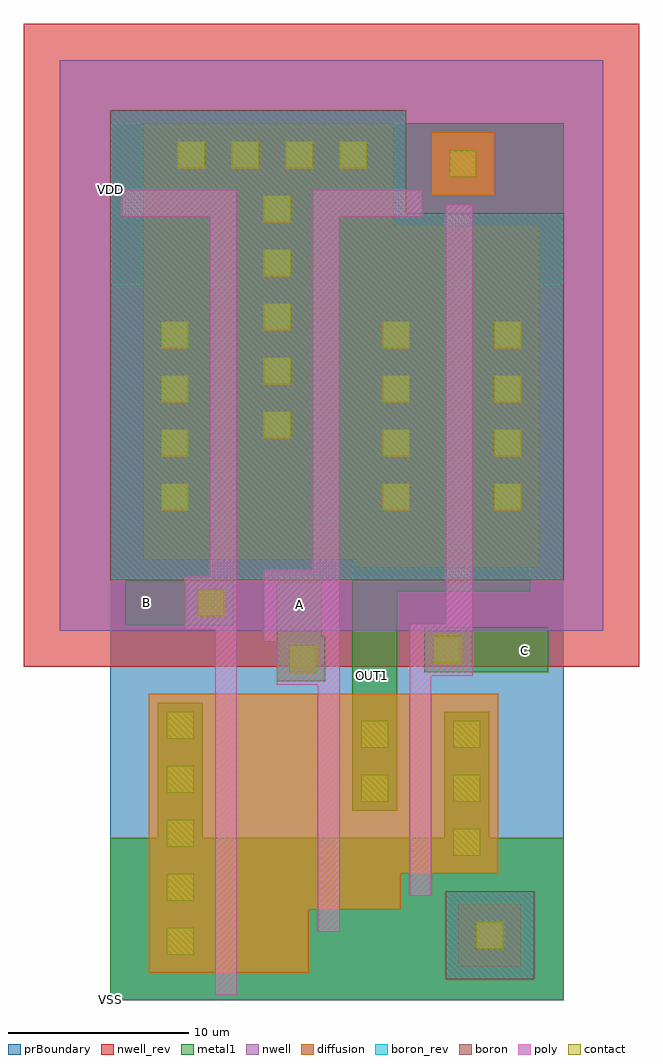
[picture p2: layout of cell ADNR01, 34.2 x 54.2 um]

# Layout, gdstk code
import gdstk
lib = gdstk.Library(unit=1e-6, precision=1e-09)
def R(c, l, rs):  # rectangles x0, y0, x1, y1
    for r in rs: c.add(gdstk.rectangle(r[:2], r[2:], *l))
def A(c, l, x, y, w, h, nx, ny, dx, dy):  # array of equal rectangles
    R(c, l, [(x+i*dx, y+j*dy, x+i*dx+w, y+j*dy+h) for i in range(nx) for j in range(ny)])
def P(c, l, *ps):  # polygons
    for p in ps: c.add(gdstk.Polygon(p, *l))
nwell = (1, 0)
diffusion = (2, 0)
nwell_rev = (3, 0)
poly = (4, 0)
boron = (5, 0)
boron_rev = (6, 0)
contact = (7, 0)
metal1 = (8, 0)
prBoundary = (28, 0)

adnr01 = lib.new_cell('ADNR01')
R(adnr01, nwell, [(-2.8,20.5,27.4,52.2)])
R(adnr01, diffusion, [(19.35,1.85,22.85,5.35), (17.85,44.7,21.35,48.2)])
P(adnr01, diffusion, [(2.15,1.5),(2.15,17),(21.55,17),(21.55,7),(16.15,7),(16.15,5),(11.05,5),(11.05,1.5)],
  [(13.75,24),(13.75,24.45),(1.85,24.45),(1.85,48.7),(15.75,48.7),(15.75,43),(23.85,43),(23.85,24)])
R(adnr01, nwell_rev, [(-4.8,18.5,29.4,54.2)])
P(adnr01, poly, [(11.55,3.8),(11.55,17.5),(9.25,17.5),(9.25,19.9),(8.55,19.9),(8.55,23.9),(11.25,23.9),(11.25,45),(17.35,45),(17.35,43.5),(12.75,43.5),(12.75,3.8)],
  [(16.65,5.8),(16.65,20.9),(18.65,20.9),(18.65,44.2),(20.15,44.2),(20.15,18),(17.85,18),(17.85,5.8)],
  [(5.85,0.3),(5.85,20.6),(4.15,20.6),(4.15,23.5),(5.55,23.5),(5.55,43.5),(0.65,43.5),(0.65,45),(7.05,45),(7.05,0.3)])
R(adnr01, boron, [(18.65,1.15,23.55,6.05)])
P(adnr01, boron, [(0,23.3),(0,49.4),(16.45,49.4),(16.45,43.7),(25.2,43.7),(25.2,23.3)])
R(adnr01, boron_rev, [(18.65,1.15,23.55,6.05)])
P(adnr01, boron_rev, [(0,23.3),(0,49.4),(16.45,49.4),(16.45,43.7),(25.2,43.7),(25.2,23.3)])
A(adnr01, contact, 3.15, 2.5, 1.5, 1.5, 1, 5, 0, 3)
A(adnr01, contact, 19.05, 8, 1.5, 1.5, 1, 3, 0, 3)
A(adnr01, contact, 2.85, 27.2, 1.5, 1.5, 1, 4, 0, 3)
A(adnr01, contact, 15.15, 27.2, 1.5, 1.5, 1, 4, 0, 3)
A(adnr01, contact, 21.35, 27.2, 1.5, 1.5, 1, 4, 0, 3)
A(adnr01, contact, 8.55, 31.2, 1.5, 1.5, 1, 5, 0, 3)
A(adnr01, contact, 3.75, 46.2, 1.5, 1.5, 4, 1, 3, 0)
R(adnr01, contact, [(20.35,2.85,21.85,4.35), (13.95,11,15.45,12.5), (13.95,14,15.45,15.5), (9.95,18.2,11.45,19.7), (17.95,18.7,19.45,20.2), (4.85,21.3,6.35,22.8), (18.85,45.7,20.35,47.2)])
R(adnr01, metal1, [(0,0,25.2,9), (13.45,16.8,15.95,19.3), (17.45,18.2,24.35,20.7), (0.85,20.8,6.85,23.3), (0,39.7,25.2,48.7)])
P(adnr01, metal1, [(9.25,17.7),(9.25,23.5),(11.75,23.5),(11.75,20.2),(11.95,20.2),(11.95,17.7)],
  [(8.05,30.7),(8.05,39.7),(0,39.7),(0,48.7),(25.2,48.7),(25.2,39.7),(10.55,39.7),(10.55,30.7)],
  [(0,0),(0,9),(2.65,9),(2.65,16.5),(5.15,16.5),(5.15,9),(18.55,9),(18.55,16),(21.05,16),(21.05,9),(25.2,9),(25.2,0)],
  [(13.45,10.5),(13.45,25.2),(20.85,25.2),(20.85,38.2),(23.35,38.2),(23.35,22.7),(15.95,22.7),(15.95,10.5)],
  [(2.35,26.7),(2.35,38.2),(4.85,38.2),(4.85,29.2),(14.65,29.2),(14.65,38.2),(17.15,38.2),(17.15,26.7)])
R(adnr01, prBoundary, [(0,0,25.2,48.7)])
adnr01.add(gdstk.Label('VSS', (0.001,0.001), layer=8, texttype=7))
adnr01.add(gdstk.Label('VDD', (0.002,45), layer=8, texttype=7))
adnr01.add(gdstk.Label('C', (23,19.4), layer=8, texttype=7))
adnr01.add(gdstk.Label('B', (2.05,22.1), layer=8, texttype=7))
adnr01.add(gdstk.Label('A', (10.5,21.95), layer=8, texttype=7))
adnr01.add(gdstk.Label('OUT1', (14.55,18), layer=8, texttype=7))

lib.write_gds('ADNR01.gds')
